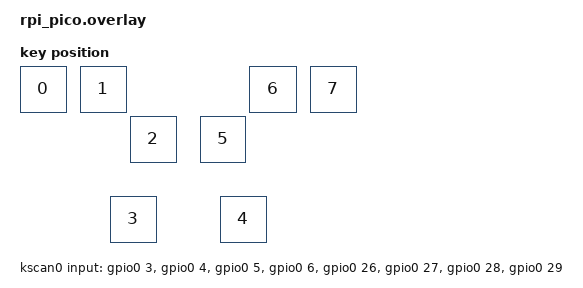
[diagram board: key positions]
#include <dt-bindings/zmk/matrix_transform.h>
#include <physical_layouts.dtsi>

/ {
    chosen {
        zmk,kscan = &kscan0;
    };

    kscan0: kscan {
        compatible = "zmk,kscan-gpio-direct";
        input-gpios =
            <&gpio0 3 (GPIO_ACTIVE_LOW | GPIO_PULL_UP)>,
            <&gpio0 4 (GPIO_ACTIVE_LOW | GPIO_PULL_UP)>,
            <&gpio0 5 (GPIO_ACTIVE_LOW | GPIO_PULL_UP)>,
            <&gpio0 6 (GPIO_ACTIVE_LOW | GPIO_PULL_UP)>,
            <&gpio0 26 (GPIO_ACTIVE_LOW | GPIO_PULL_UP)>,
            <&gpio0 27 (GPIO_ACTIVE_LOW | GPIO_PULL_UP)>,
            <&gpio0 28 (GPIO_ACTIVE_LOW | GPIO_PULL_UP)>,
            <&gpio0 29 (GPIO_ACTIVE_LOW | GPIO_PULL_UP)>;
    };

    default_transform: matrix_transform {
        compatible = "zmk,matrix-transform";
        rows = <1>;
        columns = <8>;
        map = <0 1 2 3 4 5 6 7>;
    };

    physical_layout0: physical_layout0 {
        compatible = "zmk,physical-layout";
        display-name = "Default Layout";
        kscan = <&kscan0>;
        transform = <&default_transform>;
        keys  //                     w   h    x    y     rot    rx    ry
            = <&key_physical_attrs 100 100    0    0       0     0     0>
            , <&key_physical_attrs 100 100  120    0       0     0     0>
            , <&key_physical_attrs 100 100  220  100       0     0     0>
            , <&key_physical_attrs 100 100  180  260       0     0     0>
            , <&key_physical_attrs 100 100  400  260       0     0     0>
            , <&key_physical_attrs 100 100  360  100       0     0     0>
            , <&key_physical_attrs 100 100  460    0       0     0     0>
            , <&key_physical_attrs 100 100  580    0       0     0     0>
            ;
    };
};
